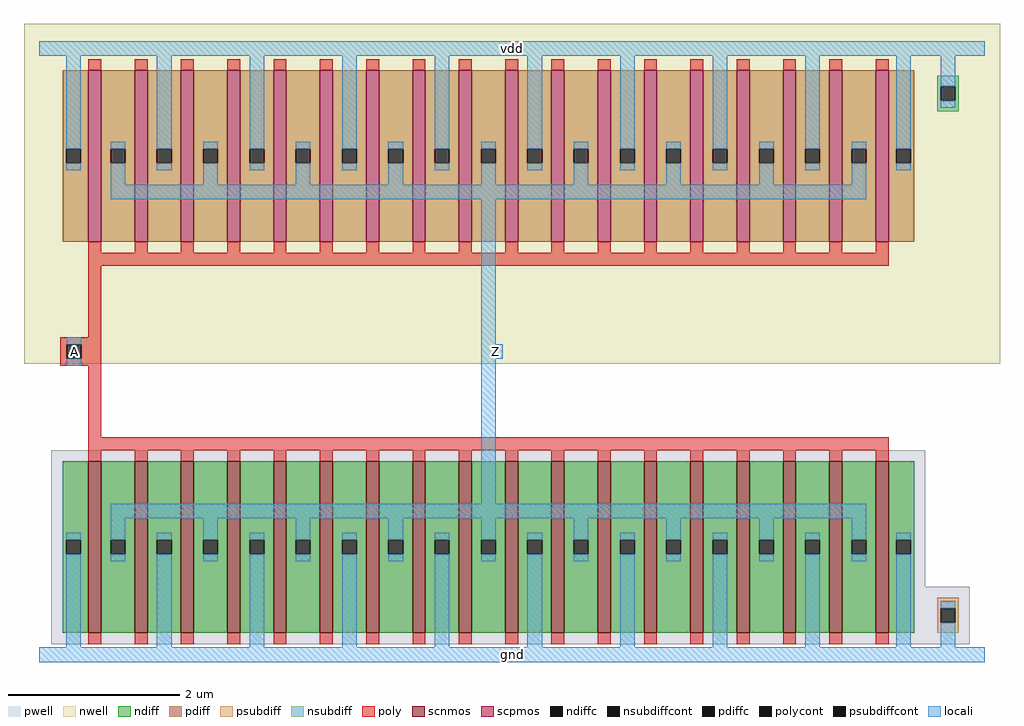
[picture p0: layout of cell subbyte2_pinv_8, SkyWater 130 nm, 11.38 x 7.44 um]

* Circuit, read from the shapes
.subckt subbyte2_pinv_8 A Z gnd vdd
XM1 Z A gnd gnd sky130_fd_pr__nfet_01v8 w=2 l=0.15 m=18
XM2 Z A vdd vdd sky130_fd_pr__pfet_01v8 w=2 l=0.15 m=18
.ends

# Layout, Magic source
magic
tech sky130A
magscale 1 2
<< nwell >>
rect -36 679 2240 1471
<< pwell >>
rect 28 159 2066 477
rect 28 25 2170 159
<< scnmos >>
rect 114 51 144 451
rect 222 51 252 451
rect 330 51 360 451
rect 438 51 468 451
rect 546 51 576 451
rect 654 51 684 451
rect 762 51 792 451
rect 870 51 900 451
rect 978 51 1008 451
rect 1086 51 1116 451
rect 1194 51 1224 451
rect 1302 51 1332 451
rect 1410 51 1440 451
rect 1518 51 1548 451
rect 1626 51 1656 451
rect 1734 51 1764 451
rect 1842 51 1872 451
rect 1950 51 1980 451
<< scpmos >>
rect 114 963 144 1363
rect 222 963 252 1363
rect 330 963 360 1363
rect 438 963 468 1363
rect 546 963 576 1363
rect 654 963 684 1363
rect 762 963 792 1363
rect 870 963 900 1363
rect 978 963 1008 1363
rect 1086 963 1116 1363
rect 1194 963 1224 1363
rect 1302 963 1332 1363
rect 1410 963 1440 1363
rect 1518 963 1548 1363
rect 1626 963 1656 1363
rect 1734 963 1764 1363
rect 1842 963 1872 1363
rect 1950 963 1980 1363
<< ndiff >>
rect 54 268 114 451
rect 54 234 62 268
rect 96 234 114 268
rect 54 51 114 234
rect 144 268 222 451
rect 144 234 166 268
rect 200 234 222 268
rect 144 51 222 234
rect 252 268 330 451
rect 252 234 274 268
rect 308 234 330 268
rect 252 51 330 234
rect 360 268 438 451
rect 360 234 382 268
rect 416 234 438 268
rect 360 51 438 234
rect 468 268 546 451
rect 468 234 490 268
rect 524 234 546 268
rect 468 51 546 234
rect 576 268 654 451
rect 576 234 598 268
rect 632 234 654 268
rect 576 51 654 234
rect 684 268 762 451
rect 684 234 706 268
rect 740 234 762 268
rect 684 51 762 234
rect 792 268 870 451
rect 792 234 814 268
rect 848 234 870 268
rect 792 51 870 234
rect 900 268 978 451
rect 900 234 922 268
rect 956 234 978 268
rect 900 51 978 234
rect 1008 268 1086 451
rect 1008 234 1030 268
rect 1064 234 1086 268
rect 1008 51 1086 234
rect 1116 268 1194 451
rect 1116 234 1138 268
rect 1172 234 1194 268
rect 1116 51 1194 234
rect 1224 268 1302 451
rect 1224 234 1246 268
rect 1280 234 1302 268
rect 1224 51 1302 234
rect 1332 268 1410 451
rect 1332 234 1354 268
rect 1388 234 1410 268
rect 1332 51 1410 234
rect 1440 268 1518 451
rect 1440 234 1462 268
rect 1496 234 1518 268
rect 1440 51 1518 234
rect 1548 268 1626 451
rect 1548 234 1570 268
rect 1604 234 1626 268
rect 1548 51 1626 234
rect 1656 268 1734 451
rect 1656 234 1678 268
rect 1712 234 1734 268
rect 1656 51 1734 234
rect 1764 268 1842 451
rect 1764 234 1786 268
rect 1820 234 1842 268
rect 1764 51 1842 234
rect 1872 268 1950 451
rect 1872 234 1894 268
rect 1928 234 1950 268
rect 1872 51 1950 234
rect 1980 268 2040 451
rect 1980 234 1998 268
rect 2032 234 2040 268
rect 1980 51 2040 234
<< pdiff >>
rect 54 1180 114 1363
rect 54 1146 62 1180
rect 96 1146 114 1180
rect 54 963 114 1146
rect 144 1180 222 1363
rect 144 1146 166 1180
rect 200 1146 222 1180
rect 144 963 222 1146
rect 252 1180 330 1363
rect 252 1146 274 1180
rect 308 1146 330 1180
rect 252 963 330 1146
rect 360 1180 438 1363
rect 360 1146 382 1180
rect 416 1146 438 1180
rect 360 963 438 1146
rect 468 1180 546 1363
rect 468 1146 490 1180
rect 524 1146 546 1180
rect 468 963 546 1146
rect 576 1180 654 1363
rect 576 1146 598 1180
rect 632 1146 654 1180
rect 576 963 654 1146
rect 684 1180 762 1363
rect 684 1146 706 1180
rect 740 1146 762 1180
rect 684 963 762 1146
rect 792 1180 870 1363
rect 792 1146 814 1180
rect 848 1146 870 1180
rect 792 963 870 1146
rect 900 1180 978 1363
rect 900 1146 922 1180
rect 956 1146 978 1180
rect 900 963 978 1146
rect 1008 1180 1086 1363
rect 1008 1146 1030 1180
rect 1064 1146 1086 1180
rect 1008 963 1086 1146
rect 1116 1180 1194 1363
rect 1116 1146 1138 1180
rect 1172 1146 1194 1180
rect 1116 963 1194 1146
rect 1224 1180 1302 1363
rect 1224 1146 1246 1180
rect 1280 1146 1302 1180
rect 1224 963 1302 1146
rect 1332 1180 1410 1363
rect 1332 1146 1354 1180
rect 1388 1146 1410 1180
rect 1332 963 1410 1146
rect 1440 1180 1518 1363
rect 1440 1146 1462 1180
rect 1496 1146 1518 1180
rect 1440 963 1518 1146
rect 1548 1180 1626 1363
rect 1548 1146 1570 1180
rect 1604 1146 1626 1180
rect 1548 963 1626 1146
rect 1656 1180 1734 1363
rect 1656 1146 1678 1180
rect 1712 1146 1734 1180
rect 1656 963 1734 1146
rect 1764 1180 1842 1363
rect 1764 1146 1786 1180
rect 1820 1146 1842 1180
rect 1764 963 1842 1146
rect 1872 1180 1950 1363
rect 1872 1146 1894 1180
rect 1928 1146 1950 1180
rect 1872 963 1950 1146
rect 1980 1180 2040 1363
rect 1980 1146 1998 1180
rect 2032 1146 2040 1180
rect 1980 963 2040 1146
<< ndiffc >>
rect 62 234 96 268
rect 166 234 200 268
rect 274 234 308 268
rect 382 234 416 268
rect 490 234 524 268
rect 598 234 632 268
rect 706 234 740 268
rect 814 234 848 268
rect 922 234 956 268
rect 1030 234 1064 268
rect 1138 234 1172 268
rect 1246 234 1280 268
rect 1354 234 1388 268
rect 1462 234 1496 268
rect 1570 234 1604 268
rect 1678 234 1712 268
rect 1786 234 1820 268
rect 1894 234 1928 268
rect 1998 234 2032 268
<< pdiffc >>
rect 62 1146 96 1180
rect 166 1146 200 1180
rect 274 1146 308 1180
rect 382 1146 416 1180
rect 490 1146 524 1180
rect 598 1146 632 1180
rect 706 1146 740 1180
rect 814 1146 848 1180
rect 922 1146 956 1180
rect 1030 1146 1064 1180
rect 1138 1146 1172 1180
rect 1246 1146 1280 1180
rect 1354 1146 1388 1180
rect 1462 1146 1496 1180
rect 1570 1146 1604 1180
rect 1678 1146 1712 1180
rect 1786 1146 1820 1180
rect 1894 1146 1928 1180
rect 1998 1146 2032 1180
<< psubdiff >>
rect 2094 109 2144 133
rect 2094 75 2102 109
rect 2136 75 2144 109
rect 2094 51 2144 75
<< nsubdiff >>
rect 2094 1326 2144 1350
rect 2094 1292 2102 1326
rect 2136 1292 2144 1326
rect 2094 1268 2144 1292
<< psubdiffcont >>
rect 2102 75 2136 109
<< nsubdiffcont >>
rect 2102 1292 2136 1326
<< poly >>
rect 114 1363 144 1389
rect 222 1363 252 1389
rect 330 1363 360 1389
rect 438 1363 468 1389
rect 546 1363 576 1389
rect 654 1363 684 1389
rect 762 1363 792 1389
rect 870 1363 900 1389
rect 978 1363 1008 1389
rect 1086 1363 1116 1389
rect 1194 1363 1224 1389
rect 1302 1363 1332 1389
rect 1410 1363 1440 1389
rect 1518 1363 1548 1389
rect 1626 1363 1656 1389
rect 1734 1363 1764 1389
rect 1842 1363 1872 1389
rect 1950 1363 1980 1389
rect 114 937 144 963
rect 222 937 252 963
rect 330 937 360 963
rect 438 937 468 963
rect 546 937 576 963
rect 654 937 684 963
rect 762 937 792 963
rect 870 937 900 963
rect 978 937 1008 963
rect 1086 937 1116 963
rect 1194 937 1224 963
rect 1302 937 1332 963
rect 1410 937 1440 963
rect 1518 937 1548 963
rect 1626 937 1656 963
rect 1734 937 1764 963
rect 1842 937 1872 963
rect 1950 937 1980 963
rect 114 907 1980 937
rect 114 740 144 907
rect 48 724 144 740
rect 48 690 64 724
rect 98 690 144 724
rect 48 674 144 690
rect 114 507 144 674
rect 114 477 1980 507
rect 114 451 144 477
rect 222 451 252 477
rect 330 451 360 477
rect 438 451 468 477
rect 546 451 576 477
rect 654 451 684 477
rect 762 451 792 477
rect 870 451 900 477
rect 978 451 1008 477
rect 1086 451 1116 477
rect 1194 451 1224 477
rect 1302 451 1332 477
rect 1410 451 1440 477
rect 1518 451 1548 477
rect 1626 451 1656 477
rect 1734 451 1764 477
rect 1842 451 1872 477
rect 1950 451 1980 477
rect 114 25 144 51
rect 222 25 252 51
rect 330 25 360 51
rect 438 25 468 51
rect 546 25 576 51
rect 654 25 684 51
rect 762 25 792 51
rect 870 25 900 51
rect 978 25 1008 51
rect 1086 25 1116 51
rect 1194 25 1224 51
rect 1302 25 1332 51
rect 1410 25 1440 51
rect 1518 25 1548 51
rect 1626 25 1656 51
rect 1734 25 1764 51
rect 1842 25 1872 51
rect 1950 25 1980 51
<< polycont >>
rect 64 690 98 724
<< locali >>
rect 0 1397 2204 1431
rect 62 1180 96 1397
rect 62 1130 96 1146
rect 166 1180 200 1196
rect 166 1096 200 1146
rect 274 1180 308 1397
rect 274 1130 308 1146
rect 382 1180 416 1196
rect 382 1096 416 1146
rect 490 1180 524 1397
rect 490 1130 524 1146
rect 598 1180 632 1196
rect 598 1096 632 1146
rect 706 1180 740 1397
rect 706 1130 740 1146
rect 814 1180 848 1196
rect 814 1096 848 1146
rect 922 1180 956 1397
rect 922 1130 956 1146
rect 1030 1180 1064 1196
rect 1030 1096 1064 1146
rect 1138 1180 1172 1397
rect 1138 1130 1172 1146
rect 1246 1180 1280 1196
rect 1246 1096 1280 1146
rect 1354 1180 1388 1397
rect 1354 1130 1388 1146
rect 1462 1180 1496 1196
rect 1462 1096 1496 1146
rect 1570 1180 1604 1397
rect 1570 1130 1604 1146
rect 1678 1180 1712 1196
rect 1678 1096 1712 1146
rect 1786 1180 1820 1397
rect 1786 1130 1820 1146
rect 1894 1180 1928 1196
rect 1894 1096 1928 1146
rect 1998 1180 2032 1397
rect 2102 1326 2136 1397
rect 2102 1276 2136 1292
rect 1998 1130 2032 1146
rect 166 1062 1928 1096
rect 64 724 98 740
rect 64 674 98 690
rect 1030 724 1064 1062
rect 1030 690 1081 724
rect 1030 352 1064 690
rect 166 318 1928 352
rect 62 268 96 284
rect 62 17 96 234
rect 166 268 200 318
rect 166 218 200 234
rect 274 268 308 284
rect 274 17 308 234
rect 382 268 416 318
rect 382 218 416 234
rect 490 268 524 284
rect 490 17 524 234
rect 598 268 632 318
rect 598 218 632 234
rect 706 268 740 284
rect 706 17 740 234
rect 814 268 848 318
rect 814 218 848 234
rect 922 268 956 284
rect 922 17 956 234
rect 1030 268 1064 318
rect 1030 218 1064 234
rect 1138 268 1172 284
rect 1138 17 1172 234
rect 1246 268 1280 318
rect 1246 218 1280 234
rect 1354 268 1388 284
rect 1354 17 1388 234
rect 1462 268 1496 318
rect 1462 218 1496 234
rect 1570 268 1604 284
rect 1570 17 1604 234
rect 1678 268 1712 318
rect 1678 218 1712 234
rect 1786 268 1820 284
rect 1786 17 1820 234
rect 1894 268 1928 318
rect 1894 218 1928 234
rect 1998 268 2032 284
rect 1998 17 2032 234
rect 2102 109 2136 125
rect 2102 17 2136 75
rect 0 -17 2204 17
<< labels >>
rlabel locali s 81 707 81 707 4 A
port 1 nsew
rlabel locali s 1064 707 1064 707 4 Z
port 2 nsew
rlabel locali s 1102 0 1102 0 4 gnd
port 3 nsew
rlabel locali s 1102 1414 1102 1414 4 vdd
port 4 nsew
<< properties >>
string FIXED_BBOX 0 0 2204 1079
<< end >>
